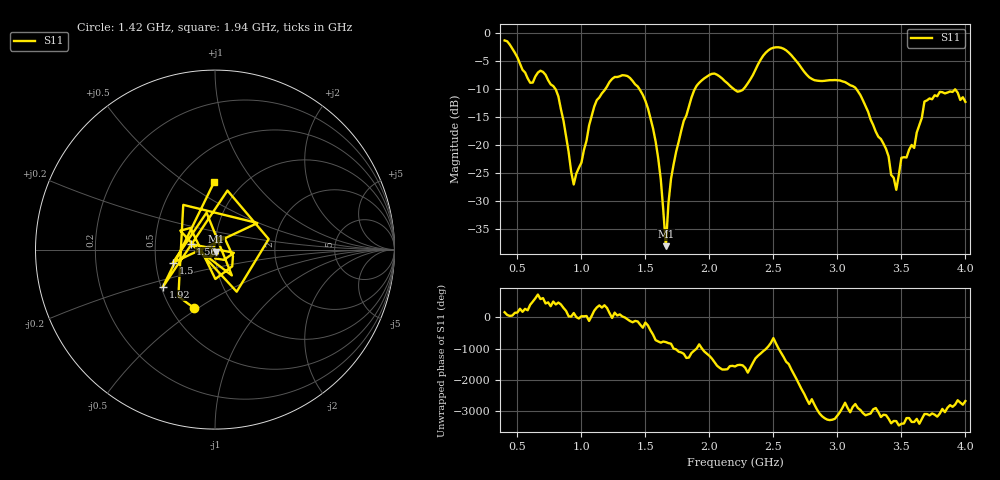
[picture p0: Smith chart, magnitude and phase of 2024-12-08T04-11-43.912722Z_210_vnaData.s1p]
!Created with skrf (http://scikit-rf.org).
# Hz S RI R 50.0
!freq ReS11 ImS11
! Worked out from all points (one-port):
!   181 points, 400 MHz to 4 GHz, reference 50 ohm
!   lowest |S11| = -38.1 dB at 1.66 GHz (marker M1), VSWR 1.03, Z = 50.4 - j1.19 ohm
!   |S11| at or under -10 dB: 795.6 MHz to 1.188 GHz (392.8 MHz wide, 39.6 % of centre); 1.452 GHz to 1.888 GHz (435.9 MHz wide, 26.1 % of centre); 3.146 GHz to end of sweep (the widest 3 of 4)
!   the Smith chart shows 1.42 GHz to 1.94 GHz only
!   S11 on the Smith chart (normalised r, x): 1.42 GHz: 0.65, -0.48; 1.5 GHz: 0.61, -0.10; 1.56 GHz: 0.76, +0.05; 1.92 GHz: 0.51, -0.24; 1.94 GHz: 0.75, +0.65
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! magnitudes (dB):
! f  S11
! 400 MHz  -1.4
! 600 MHz  -8.9
! 720 MHz  -7.5
! 860 MHz  -15.7
! 940 MHz  -27.1
! 1.12 GHz  -12.0
! 1.3 GHz  -7.8
! 1.42 GHz  -9.2
! 1.5 GHz  -12.2
! 1.56 GHz  -17.1
! 1.62 GHz  -26.1
! 1.66 GHz  -38.1
! 1.7 GHz  -26.1
! 1.76 GHz  -19.4
! 1.92 GHz  -8.9
! 1.94 GHz  -8.5
! 2.2 GHz  -10.2
! 2.48 GHz  -2.8
! 2.66 GHz  -4.5
! 3.1 GHz  -9.4
! 3.38 GHz  -20.7
! 3.46 GHz  -28.0
! 3.5 GHz  -22.3
! 3.56 GHz  -20.9
! 3.6 GHz  -20.6
! 3.68 GHz  -12.3
! 3.92 GHz  -10.1
! 4 GHz  -12.3
